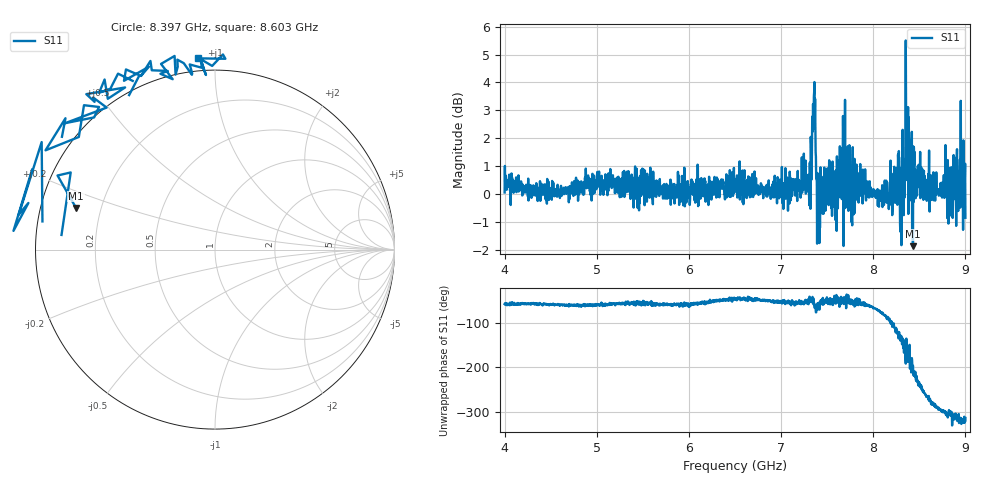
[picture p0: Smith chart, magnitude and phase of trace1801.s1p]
! Created with skrf 1.8.0 (http://scikit-rf.org).
# Hz S RI R 50.0
!freq ReS11 ImS11
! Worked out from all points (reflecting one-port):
!   1601 points, 4 GHz to 9 GHz, reference 50 ohm
!   lowest |S11| = -1.8 dB at 8.431 GHz (marker M1), VSWR 9.44, Z = 5.41 + j7.26 ohm
!   phase of S11 starts at -58 deg and turns -257 deg over the sweep
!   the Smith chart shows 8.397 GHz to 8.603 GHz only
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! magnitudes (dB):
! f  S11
! 4 GHz  0.1
! 4.625 GHz  0.0
! 5.25 GHz  -0.1
! 5.875 GHz  0.3
! 6.5 GHz  0.2
! 7.125 GHz  0.5
! 7.294 GHz  0.3
! 7.319 GHz  -0.5
! 7.347 GHz  3.2
! 7.362 GHz  4.0
! 7.397 GHz  -0.4
! 7.412 GHz  -0.3
! 7.509 GHz  0.0
! 7.591 GHz  0.7
! 7.65 GHz  1.6
! 7.75 GHz  -0.2
! 7.784 GHz  -0.3
! 7.838 GHz  0.6
! 8.097 GHz  0.3
! 8.262 GHz  -0.4
! 8.312 GHz  1.3
! 8.334 GHz  0.6
! 8.375 GHz  1.6
! 8.406 GHz  0.6
! 8.431 GHz  -1.8
! 8.841 GHz  0.2
! 8.953 GHz  -0.3
! 9 GHz  -0.8
